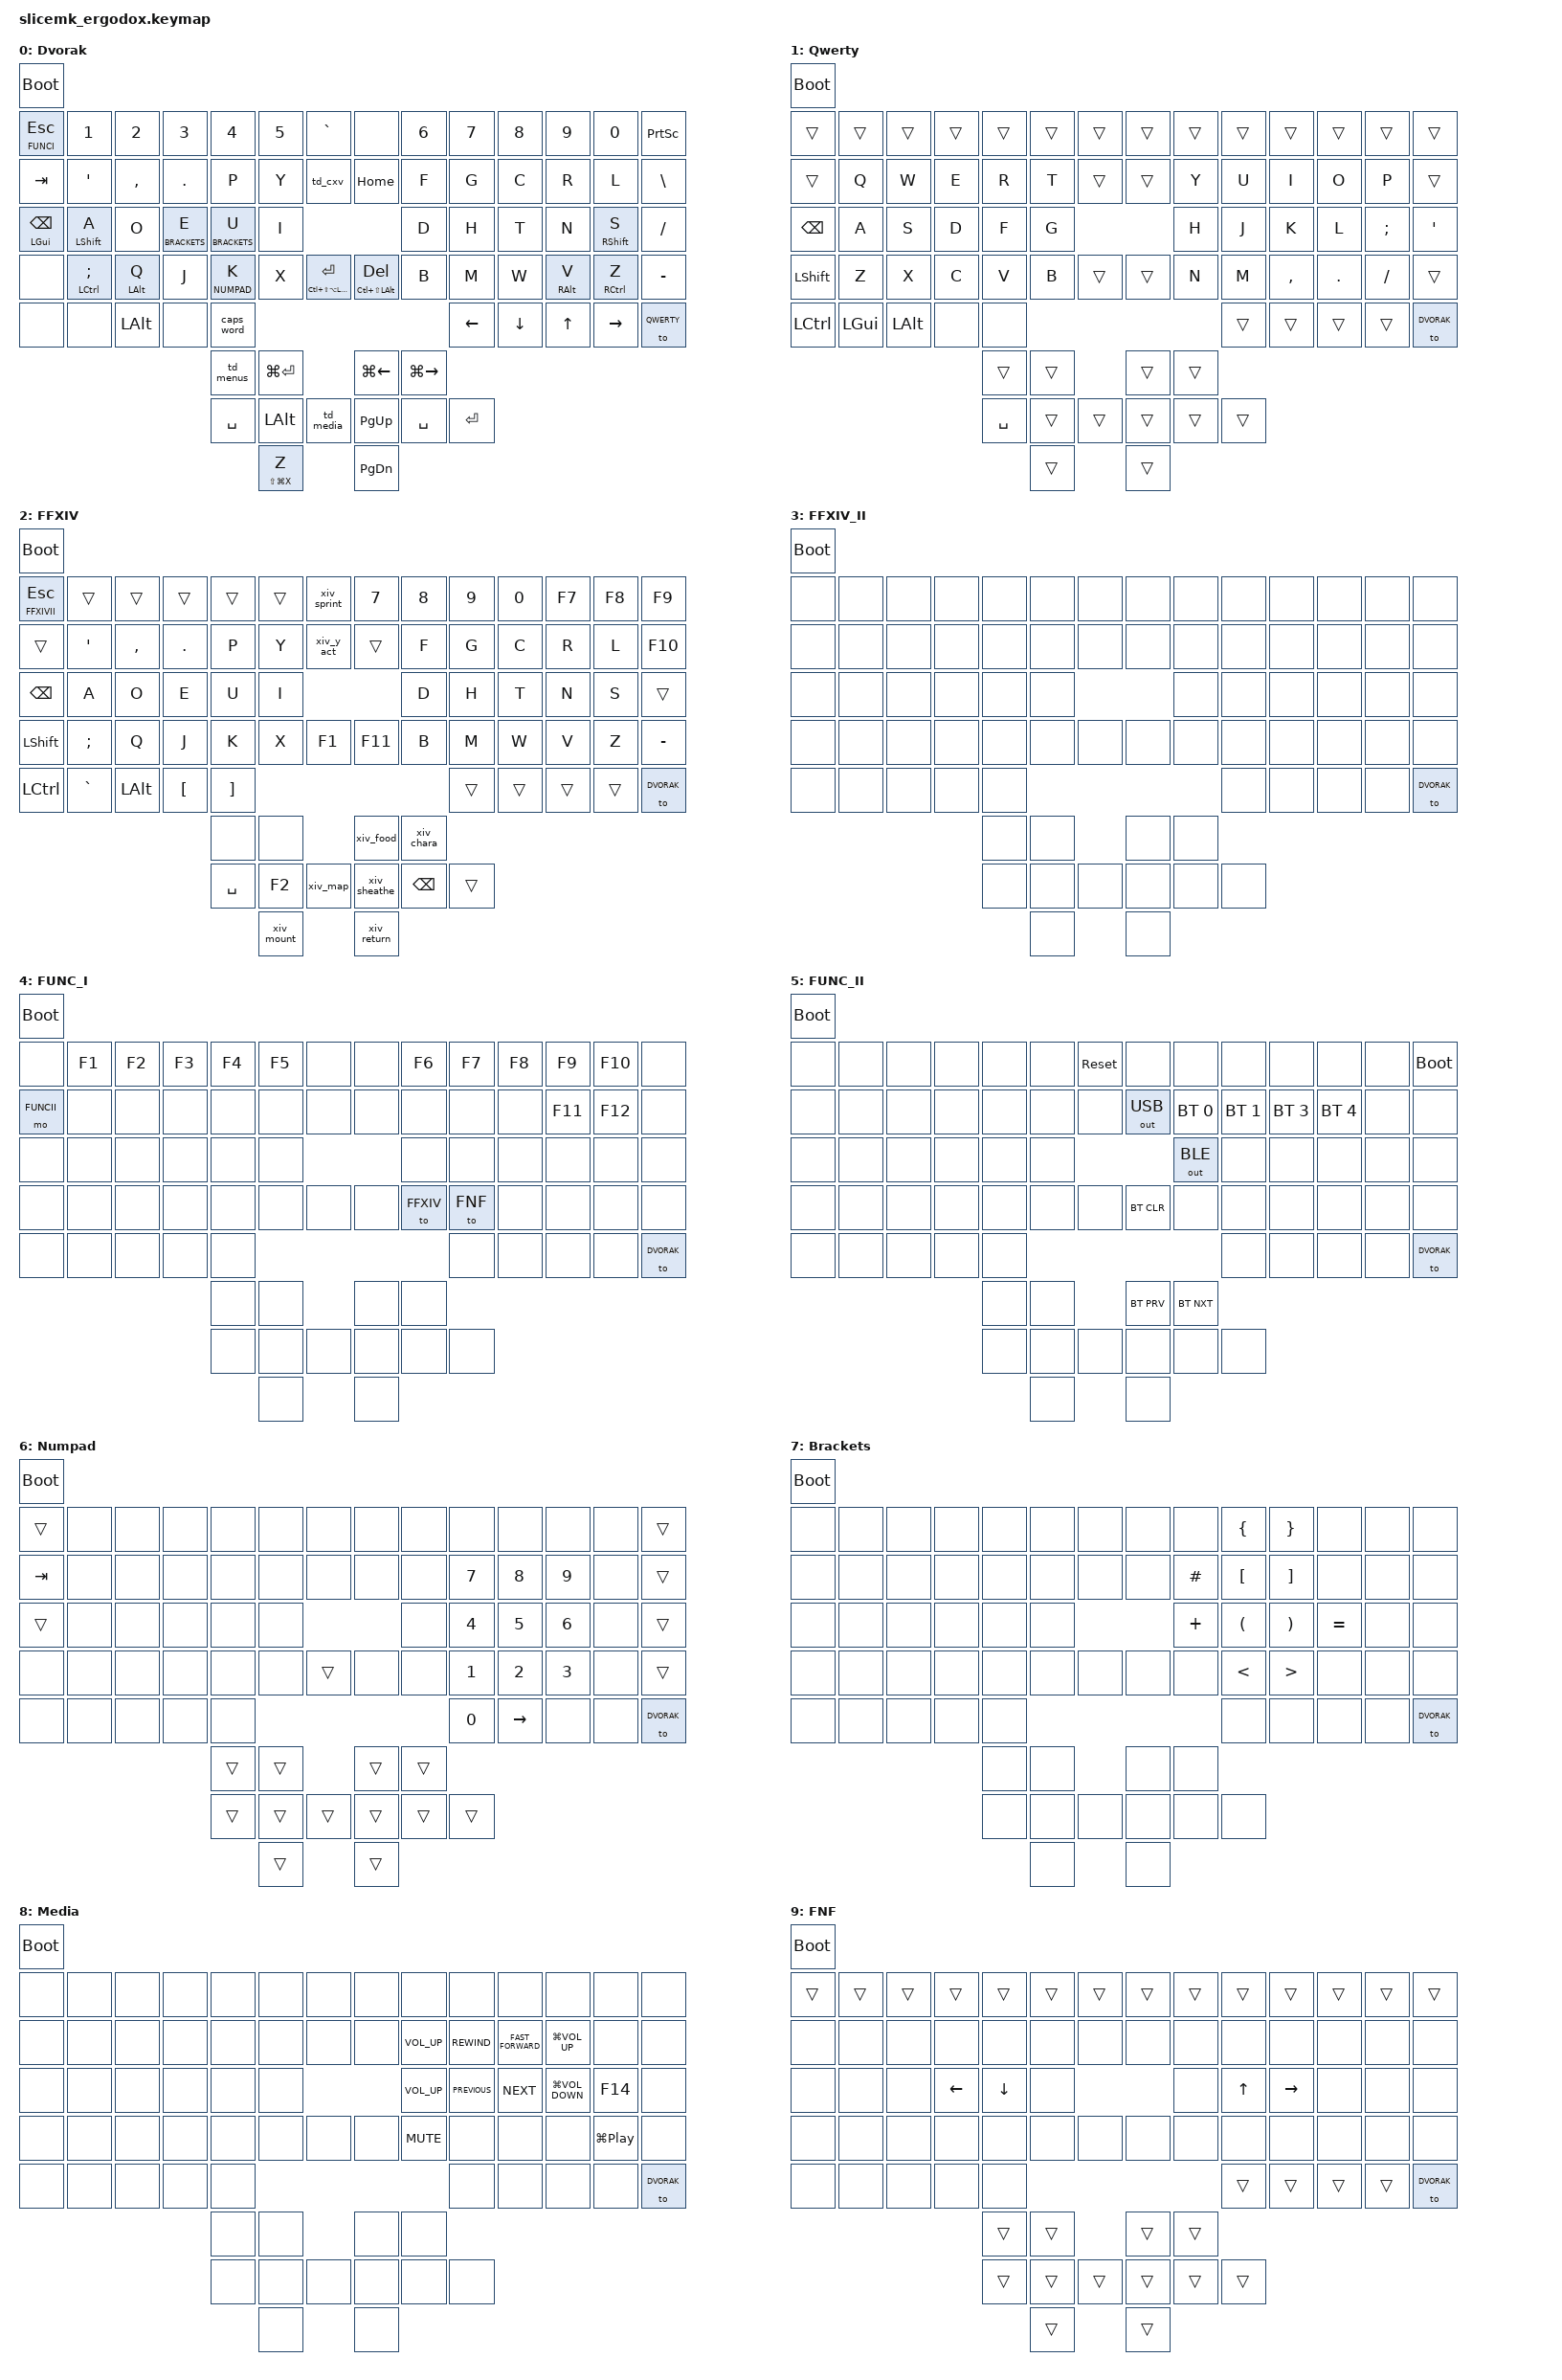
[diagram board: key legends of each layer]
#include <behaviors.dtsi>
#include <dt-bindings/zmk/bt.h>
#include <dt-bindings/zmk/keys.h>
#include <dt-bindings/zmk/outputs.h>

#include "./definitions/config.dtsi"
#include "./definitions/shortcuts.dtsi"

//Layer Definitions
#define DVORAK 0
#define QWERTY 1
#define FFXIV 2
#define FFXIVII 3
#define FUNCI 4
#define FUNCII 5
#define NUMPAD 6
#define BRACKETS 7
#define MEDIA 8
#define FNF 9

#define HYPER LC(LS(LA(LGUI)))
#define MEH LC(LS(LEFT_ALT))

// (set-face-attribute 'default nil :font "FiraCode Nerd Font Mono" :height 90)

/ {
	keymap {
		compatible = "zmk,keymap";
		layer_0 {
		  label = "Dvorak";
			bindings = <
			&bootloader
			&lt FUNCI ESC &kp N1         &kp N2         &kp N3         &kp N4         &kp N5 &kp GRAVE        &none       &kp N6 &kp N7   &kp N8   &kp N9     &kp N0      &kp PSCRN
			&kp TAB       &kp APOS       &kp COMMA      &kp PERIOD     &kp P          &kp Y  &td_cxv          &kp HOME    &kp F  &kp G    &kp C    &kp R      &kp L       &kp BACKSLASH
			&mt LGUI BSPC &mt LSHFT A    &kp O          &lt BRACKETS E &lt BRACKETS U &kp I                               &kp D  &kp H    &kp T    &kp N      &mt RSHFT S &kp SLASH
			&none         &mt LCTRL SEMI &mt LEFT_ALT Q &kp J          &lt NUMPAD K   &kp X  &mt HYPER RETURN &mt MEH DEL &kp B  &kp M    &kp W    &mt RALT V &mt RCTRL Z &kp MINUS
			&none         &none          &kp LEFT_ALT   &none          &caps_word                                                &kp LEFT &kp DOWN &kp UP     &kp RIGHT   &to QWERTY
				                                                             &td_menus &kp LG(RETURN)  &kp LG(LEFT) &kp LG(RIGHT)
				                                                   &kp SPACE &kp LALT  &td_media       &kp PG_UP    &kp SPACE &kp RETURN
				                                                                       &mt LS(LG(X)) Z &kp PG_DN
			>;
		};
		layer_1 {
		  label = "Qwerty";
			bindings = <
				&bootloader
				&trans    &trans   &trans   &trans &trans &trans &trans &trans &trans &trans &trans    &trans     &trans    &trans
				&trans    &kp Q    &kp W    &kp E  &kp R  &kp T  &trans &trans &kp Y  &kp U  &kp I     &kp O      &kp P     &trans
				&kp BSPC  &kp A    &kp S    &kp D  &kp F  &kp G                &kp H  &kp J  &kp K     &kp L      &kp SEMI  &kp SINGLE_QUOTE
				&kp LSHFT &kp Z    &kp X    &kp C  &kp V  &kp B  &trans &trans &kp N  &kp M  &kp COMMA &kp PERIOD &kp SLASH &trans
				&kp LCTRL &kp LGUI &kp LALT &none  &none                              &trans &trans    &trans     &trans    &to DVORAK
				                                             &trans &trans &trans &trans
				                                   &kp SPACE &trans &trans &trans &trans &trans
				                                                    &trans &trans
			>;
		};
		layer_2 {
		  label = "FFXIV";
			bindings = <
				&bootloader
				&lt FFXIVII ESC &trans    &trans    &trans   &trans &trans &xiv_sprint &kp N7  &kp N8 &kp N9 &kp N0 &kp F7 &kp F8 &kp F9
				&trans          &kp APOS  &kp COMMA &kp DOT  &kp P  &kp Y  &xiv_y_act  &trans  &kp F  &kp G  &kp C  &kp R  &kp L  &kp F10
				&kp BSPC        &kp A     &kp O     &kp E    &kp U  &kp I                      &kp D  &kp H  &kp T  &kp N  &kp S  &trans
				&kp LSHFT       &kp SEMI  &kp Q     &kp J    &kp K  &kp X  &kp F1      &kp F11 &kp B  &kp M  &kp W  &kp V  &kp Z  &kp MINUS
				&kp LCTRL       &kp GRAVE &kp LALT  &kp LBKT &kp RBKT                                 &trans &trans &trans &trans &to DVORAK
			                                                               &none  &none      &xiv_food    &xiv_chara
			                                                     &kp SPACE &kp F2 &xiv_map   &xiv_sheathe &kp BSPC &trans
		                                                                              &xiv_mount &xiv_return
			>;
		};
		layer_3 {
		  label = "FFXIV_II";
			bindings = <
				&bootloader
				&none &none &none &none &none &none &none &none &none &none &none &none &none &none
				&none &none &none &none &none &none &none &none &none &none &none &none &none &none
				&none &none &none &none &none &none             &none &none &none &none &none &none
				&none &none &none &none &none &none &none &none &none &none &none &none &none &none
				&none &none &none &none &none                         &none &none &none &none &to DVORAK
				                              &none &none &none &none
				                        &none &none &none &none &none &none
				                                    &none &none
			>;
		};
		layer_4 {
		  label = "FUNC_I";
			bindings = <
				&bootloader
				&none            &kp F1 &kp F2 &kp F3 &kp F4 &kp F5 &none &none &kp F6     &kp F7  &kp F8  &kp F9  &kp F10 &none
				&mo FUNCII       &none  &none  &none  &none  &none  &none &none &none      &none   &none   &kp F11 &kp F12 &none
				&none            &none  &none  &none  &none  &none              &none      &none   &none   &none   &none   &none
				&none            &none  &none  &none  &none  &none  &none &none &to FFXIV  &to FNF &none   &none   &none   &none
				&none            &none  &none  &none  &none                                &none   &none   &none   &none   &to DVORAK
				                                             &none  &none &none &none
				                                      &none  &none  &none &none &none  &none
				                                                    &none &none
			>;
		};
		layer_5 {
		  label = "FUNC_II";
			bindings = <
				&bootloader
				&none &none &none &none &none &none &sys_reset &none        &none        &none        &none        &none        &none &bootloader
				&none &none &none &none &none &none &none      &out OUT_USB &bt BT_SEL 0 &bt BT_SEL 1 &bt BT_SEL 3 &bt BT_SEL 4 &none &none
				&none &none &none &none &none &none                         &out OUT_BLE &none        &none        &none        &none &none
				&none &none &none &none &none &none &none      &bt BT_CLR   &none        &none        &none        &none        &none &none
				&none &none &none &none &none                                            &none        &none        &none        &none &to DVORAK
				                              &none &none      &bt BT_PRV   &bt BT_NXT
				                        &none &none &none      &none        &none        &none
				                                    &none      &none
			>;
		};
		layer_6 {
		  label = "Numpad";
			bindings = <
				&bootloader
				&trans  &none &none &none &none  &none  &none  &none  &none  &none  &none     &none  &none &trans
				&kp TAB &none &none &none &none  &none  &none  &none  &none  &kp N7 &kp N8    &kp N9 &none &trans
				&trans  &none &none &none &none  &none                &none  &kp N4 &kp N5    &kp N6 &none &trans
				&none   &none &none &none &none  &none  &trans &none  &none  &kp N1 &kp N2    &kp N3 &none &trans
				&none   &none &none &none &none                              &kp N0 &kp RIGHT &none  &none &to DVORAK
				                                 &trans &trans &trans &trans
				                          &trans &trans &trans &trans &trans &trans
				                                        &trans &trans
			>;
		};
		layer_7 {
		  label = "Brackets";
			bindings = <
				&bootloader
				&none &none &none &none &none &none &none &none &none    &kp LEFT_BRACE       &kp RIGHT_BRACE       &none     &none &none
				&none &none &none &none &none &none &none &none &kp HASH &kp LEFT_BRACKET     &kp RIGHT_BRACKET     &none     &none &none
				&none &none &none &none &none &none             &kp PLUS &kp LEFT_PARENTHESIS &kp RIGHT_PARENTHESIS &kp EQUAL &none &none
				&none &none &none &none &none &none &none &none &none    &kp LESS_THAN        &kp GREATER_THAN      &none     &none &none
				&none &none &none &none &none                            &none                &none                 &none     &none &to DVORAK
				                              &none &none &none &none
				                        &none &none &none &none &none    &none
				                                    &none &none
			>;
		};
		layer_8 {
		  label = "Media";
			bindings = <
				&bootloader
				&none &none &none &none &none &none &none &none &none           &none          &none              &none                 &none                &none
				&none &none &none &none &none &none &none &none &kp C_VOLUME_UP &kp C_REWIND   &kp C_FAST_FORWARD &kp LG(C_VOLUME_UP)   &none                &none
				&none &none &none &none &none &none             &kp C_VOLUME_UP &kp C_PREVIOUS &kp C_NEXT         &kp LG(C_VOLUME_DOWN) &kp F14              &none
				&none &none &none &none &none &none &none &none &kp C_MUTE      &none          &none              &none                 &kp LG(C_PLAY_PAUSE) &none
				&none &none &none &none &none                                   &none          &none              &none                 &none                &to DVORAK
				                              &none &none &none &none
				                        &none &none &none &none &none           &none
				                                    &none &none
			>;
		};
		layer_9 {
		  label = "FNF";
			bindings = <
				&bootloader
				&trans &trans &trans &trans   &trans   &trans &trans &trans &trans &trans &trans    &trans &trans &trans
				&none  &none  &none  &none    &none    &none  &none  &none  &none  &none  &none     &none  &none  &none
				&none  &none  &none  &kp LEFT &kp DOWN &none                &none  &kp UP &kp RIGHT &none  &none  &none
				&none  &none  &none  &none    &none    &none  &none  &none  &none  &none  &none     &none  &none  &none
				&none  &none  &none  &none    &none                                &trans &trans    &trans &trans &to DVORAK
				                                     &trans &trans &trans &trans
				                              &trans &trans &trans &trans &trans &trans
				                                            &trans &trans
			>;
		};
	};
};
